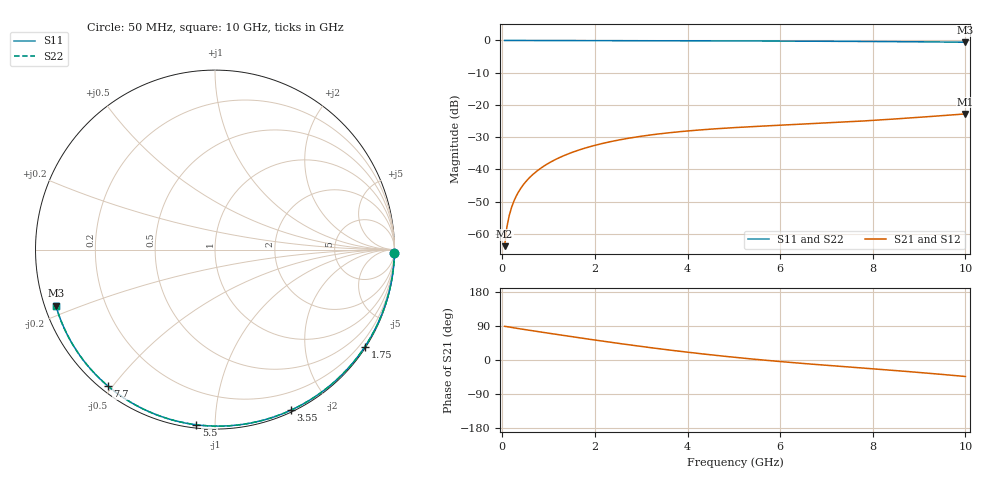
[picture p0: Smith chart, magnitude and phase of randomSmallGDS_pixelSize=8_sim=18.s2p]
! freq	dB(S11)	phase(S11)	dB(S12)	phase(S12)
!  dB(S21)	phase(S21)	dB(S22)	phase(S22)
!S-par simulation data
#  GHz  S  DB  R 50
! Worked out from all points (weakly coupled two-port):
!   200 points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, 50 MHz to 10 GHz, reference 50 ohm
!   highest |S21| = -22.79 dB at 10 GHz (marker M1); lowest = -63.8 dB at 50 MHz (marker M2)
!   lowest |S11| = -0.5 dB at 10 GHz (marker M3), VSWR 32.36, Z = 1.59 - j8.53 ohm
!   |S11| at or under -10 dB: nowhere
!   |S22| runs from -0.5 to 0.0 dB; largest |S21 - S12| = 0
!   S11 on the Smith chart (normalised r, x): 50 MHz: open; 1.75 GHz: 0.03, -3.38; 3.55 GHz: 0.02, -1.58; 5.5 GHz: 0.02, -0.90; 7.7 GHz: 0.02, -0.48; 10 GHz: 0.03, -0.17
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0.05  -0.00 -1.0  -63.83 89.0  -63.83 89.0  -0.00 -1.0
0.1  -0.00 -1.9  -57.81 87.9  -57.81 87.9  -0.00 -1.9
0.15  -0.00 -2.9  -54.30 86.9  -54.30 86.9  -0.00 -2.9
0.2  -0.00 -3.8  -51.81 85.9  -51.81 85.9  -0.00 -3.8
0.25  -0.00 -4.8  -49.89 84.9  -49.89 84.9  -0.00 -4.8
0.35  -0.01 -6.7  -46.99 82.9  -46.99 82.9  -0.01 -6.7
0.5  -0.01 -9.6  -43.94 80.0  -43.94 80.0  -0.01 -9.6
0.7  -0.02 -13.4  -41.08 76.3  -41.08 76.3  -0.02 -13.4
1  -0.02 -19.0  -38.08 70.7  -38.08 70.7  -0.02 -19.0
1.35  -0.03 -25.6  -35.62 64.3  -35.62 64.3  -0.03 -25.6
1.75  -0.04 -33.0  -33.56 57.1  -33.56 57.1  -0.04 -33.0
2.6  -0.07 -48.3  -30.66 42.4  -30.66 42.4  -0.07 -48.3
3.4  -0.09 -62.2  -28.97 29.5  -28.97 29.5  -0.09 -62.2
3.55  -0.09 -64.8  -28.72 27.2  -28.72 27.2  -0.09 -64.8
4.3  -0.11 -77.2  -27.73 16.4  -27.73 16.4  -0.11 -77.2
5.05  -0.14 -89.2  -27.01 6.7  -27.01 6.7  -0.14 -89.2
5.5  -0.16 -96.1  -26.66 1.4  -26.66 1.4  -0.16 -96.1
6.7  -0.23 -114.0  -25.83 -11.1  -25.83 -11.1  -0.23 -114.0
7.7  -0.30 -128.3  -25.06 -20.4  -25.06 -20.4  -0.30 -128.3
8.35  -0.35 -137.4  -24.48 -26.5  -24.48 -26.5  -0.35 -137.4
9.2  -0.44 -149.3  -23.64 -34.9  -23.64 -34.9  -0.44 -149.3
10  -0.54 -160.6  -22.79 -43.5  -22.79 -43.5  -0.54 -160.6
